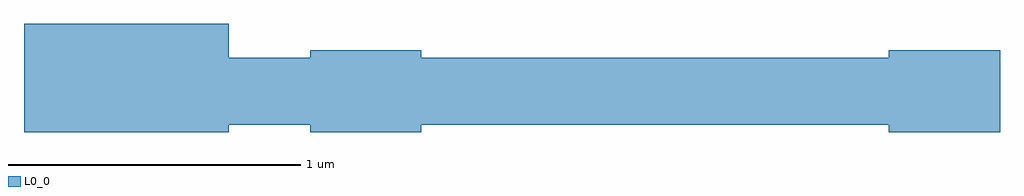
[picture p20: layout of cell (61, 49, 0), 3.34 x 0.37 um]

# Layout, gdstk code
import gdstk
lib = gdstk.Library(unit=1e-6, precision=1e-09)
def P(c, l, *ps):  # polygons
    for p in ps: c.add(gdstk.Polygon(p, *l))
L0_0 = (0, 0)

c__61__49__0_ = lib.new_cell('(61, 49, 0)')
P(c__61__49__0_, L0_0, [(901.7,903.14),(902.08,903.14),(902.08,902.86),(901.7,902.86),(901.7,903.14)],
  [(903.68,903.14),(904.06,903.14),(904.06,902.86),(903.68,902.86),(903.68,903.14)],
  [(901.23,903.115),(902.005,903.115),(902.005,902.885),(901.23,902.885),(901.23,903.115)],
  [(901.775,903.115),(903.985,903.115),(903.985,902.885),(901.775,902.885),(901.775,903.115)],
  [(900.72,902.86),(900.72,903.23),(901.42,903.23),(901.42,902.86),(900.72,902.86)],
  [(901.775,903.115),(903.985,903.115),(903.985,902.885),(901.775,902.885),(901.775,903.115)],
  [(901.7,903.14),(902.08,903.14),(902.08,902.86),(901.7,902.86),(901.7,903.14)],
  [(903.68,903.14),(904.06,903.14),(904.06,902.86),(903.68,902.86),(903.68,903.14)])

lib.write_gds('_61__49__0_.gds')
